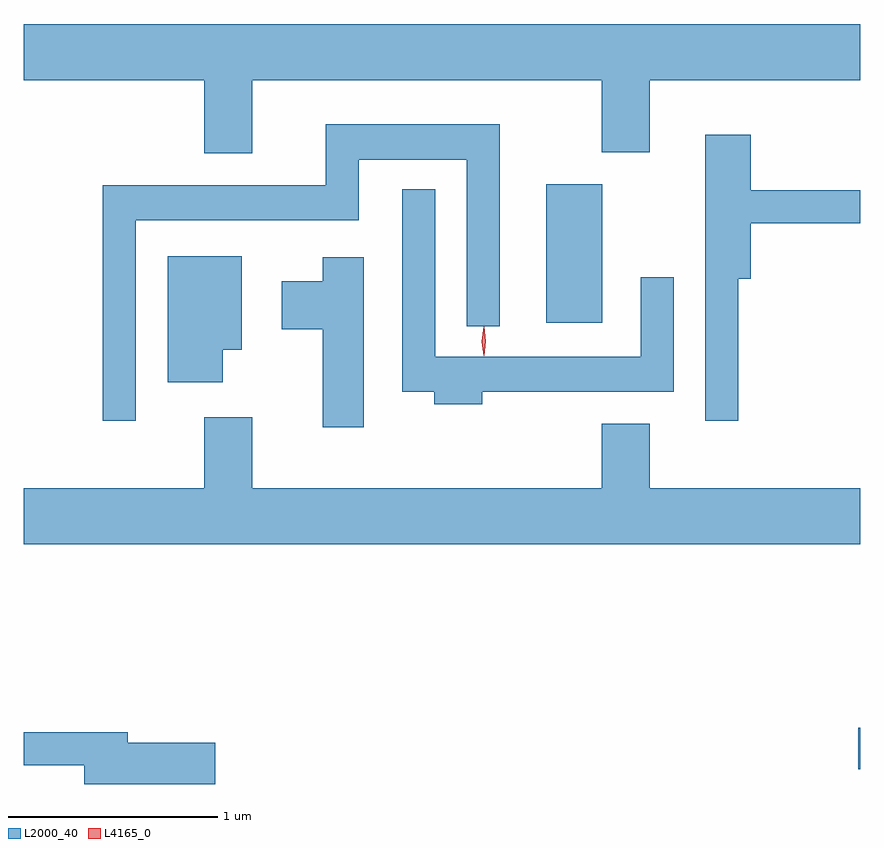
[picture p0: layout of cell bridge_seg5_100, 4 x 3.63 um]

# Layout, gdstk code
import gdstk
lib = gdstk.Library(unit=1e-6, precision=1e-09)
def R(c, l, rs):  # rectangles x0, y0, x1, y1
    for r in rs: c.add(gdstk.rectangle(r[:2], r[2:], *l))
def P(c, l, *ps):  # polygons
    for p in ps: c.add(gdstk.Polygon(p, *l))
L2000_40 = (2000, 40)
L4165_0 = (4165, 0)

bridge_seg5_100 = lib.new_cell('bridge_seg5_100')
R(bridge_seg5_100, L2000_40, [(1168.386,1502.341,1168.397,1502.539), (1166.896,1504.476,1167.164,1505.139)])
P(bridge_seg5_100, L2000_40, [(1165.489,1505.636),(1167.161,1505.636),(1167.161,1505.291),(1167.389,1505.291),(1167.389,1505.636),(1168.397,1505.636),(1168.397,1505.904),(1164.397,1505.904),(1164.397,1505.636),(1165.261,1505.636),(1165.261,1505.286),(1165.489,1505.286)],
  [(1164.934,1504.966),(1165.999,1504.966),(1165.999,1505.256),(1166.516,1505.256),(1166.516,1504.458),(1166.674,1504.458),(1166.674,1505.424),(1165.841,1505.424),(1165.841,1505.134),(1164.776,1505.134),(1164.776,1504.008),(1164.934,1504.008)],
  [(1167.814,1504.686),(1167.874,1504.686),(1167.874,1504.951),(1168.397,1504.951),(1168.397,1505.109),(1167.874,1505.109),(1167.874,1505.374),(1167.656,1505.374),(1167.656,1504.008),(1167.814,1504.008)],
  [(1166.589,1504.146),(1167.504,1504.146),(1167.504,1504.693),(1167.346,1504.693),(1167.346,1504.314),(1166.364,1504.314),(1166.364,1505.113),(1166.206,1505.113),(1166.206,1504.146),(1166.361,1504.146),(1166.361,1504.086),(1166.589,1504.086)],
  [(1165.349,1504.346),(1165.439,1504.346),(1165.439,1504.794),(1165.086,1504.794),(1165.086,1504.191),(1165.349,1504.191)],
  [(1166.024,1504.789),(1165.826,1504.789),(1165.826,1504.674),(1165.631,1504.674),(1165.631,1504.446),(1165.826,1504.446),(1165.826,1503.976),(1166.024,1503.976)],
  [(1168.397,1503.684),(1167.389,1503.684),(1167.389,1503.994),(1167.161,1503.994),(1167.161,1503.684),(1165.489,1503.684),(1165.489,1504.024),(1165.261,1504.024),(1165.261,1503.684),(1164.397,1503.684),(1164.397,1503.416),(1168.397,1503.416)],
  [(1165.314,1502.469),(1164.894,1502.469),(1164.894,1502.519),(1164.397,1502.519),(1164.397,1502.361),(1164.686,1502.361),(1164.686,1502.271),(1165.314,1502.271)])
P(bridge_seg5_100, L4165_0, [(1166.597,1504.317),(1166.597,1504.318),(1166.587,1504.387),(1166.597,1504.456),(1166.597,1504.456),(1166.598,1504.456),(1166.607,1504.387),(1166.598,1504.318)],
  [(1166.596,1504.32),(1166.587,1504.386),(1166.596,1504.452),(1166.596,1504.453),(1166.597,1504.452),(1166.606,1504.386),(1166.597,1504.32),(1166.597,1504.32)])

lib.write_gds('bridge_seg5_100.gds')
